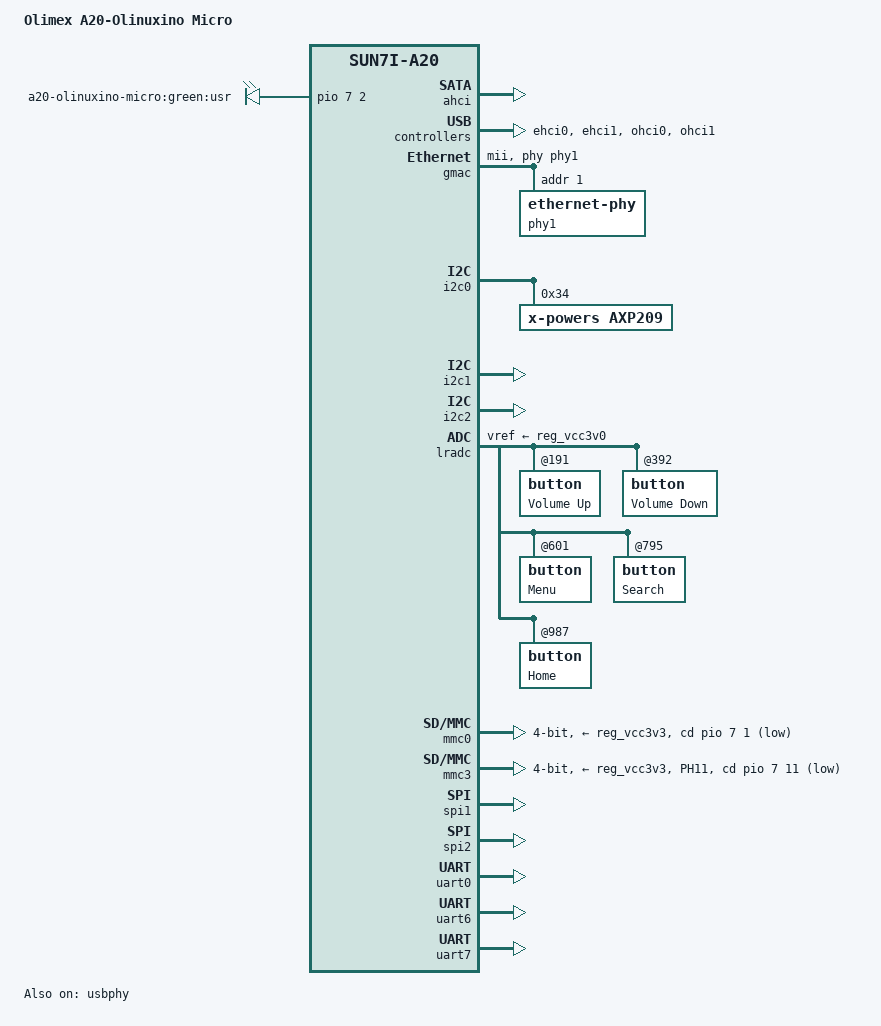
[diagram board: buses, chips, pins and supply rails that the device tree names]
/*
 * Copyright 2013 Maxime Ripard
 *
 * Maxime Ripard <maxime.ripard@free-electrons.com>
 *
 * This file is dual-licensed: you can use it either under the terms
 * of the GPL or the X11 license, at your option. Note that this dual
 * licensing only applies to this file, and not this project as a
 * whole.
 *
 *  a) This file is free software; you can redistribute it and/or
 *     modify it under the terms of the GNU General Public License as
 *     published by the Free Software Foundation; either version 2 of the
 *     License, or (at your option) any later version.
 *
 *     This file is distributed in the hope that it will be useful,
 *     but WITHOUT ANY WARRANTY; without even the implied warranty of
 *     MERCHANTABILITY or FITNESS FOR A PARTICULAR PURPOSE.  See the
 *     GNU General Public License for more details.
 *
 *     You should have received a copy of the GNU General Public
 *     License along with this file; if not, write to the Free
 *     Software Foundation, Inc., 51 Franklin St, Fifth Floor, Boston,
 *     MA 02110-1301 USA
 *
 * Or, alternatively,
 *
 *  b) Permission is hereby granted, free of charge, to any person
 *     obtaining a copy of this software and associated documentation
 *     files (the "Software"), to deal in the Software without
 *     restriction, including without limitation the rights to use,
 *     copy, modify, merge, publish, distribute, sublicense, and/or
 *     sell copies of the Software, and to permit persons to whom the
 *     Software is furnished to do so, subject to the following
 *     conditions:
 *
 *     The above copyright notice and this permission notice shall be
 *     included in all copies or substantial portions of the Software.
 *
 *     THE SOFTWARE IS PROVIDED "AS IS", WITHOUT WARRANTY OF ANY KIND,
 *     EXPRESS OR IMPLIED, INCLUDING BUT NOT LIMITED TO THE WARRANTIES
 *     OF MERCHANTABILITY, FITNESS FOR A PARTICULAR PURPOSE AND
 *     NONINFRINGEMENT. IN NO EVENT SHALL THE AUTHORS OR COPYRIGHT
 *     HOLDERS BE LIABLE FOR ANY CLAIM, DAMAGES OR OTHER LIABILITY,
 *     WHETHER IN AN ACTION OF CONTRACT, TORT OR OTHERWISE, ARISING
 *     FROM, OUT OF OR IN CONNECTION WITH THE SOFTWARE OR THE USE OR
 *     OTHER DEALINGS IN THE SOFTWARE.
 */

/dts-v1/;
#include "sun7i-a20.dtsi"
#include "sunxi-common-regulators.dtsi"

#include <dt-bindings/gpio/gpio.h>
#include <dt-bindings/input/input.h>
#include <dt-bindings/interrupt-controller/irq.h>
#include <dt-bindings/pinctrl/sun4i-a10.h>

/ {
	model = "Olimex A20-Olinuxino Micro";
	compatible = "olimex,a20-olinuxino-micro", "allwinner,sun7i-a20";

	aliases {
		serial0 = &uart0;
		serial1 = &uart6;
		serial2 = &uart7;
		spi0 = &spi1;
		spi1 = &spi2;
	};

	chosen {
		stdout-path = "serial0:115200n8";
	};

	leds {
		compatible = "gpio-leds";
		pinctrl-names = "default";
		pinctrl-0 = <&led_pins_olinuxino>;

		green {
			label = "a20-olinuxino-micro:green:usr";
			gpios = <&pio 7 2 GPIO_ACTIVE_HIGH>;
			default-state = "on";
		};
	};
};

&ahci {
	target-supply = <&reg_ahci_5v>;
	status = "okay";
};

&ehci0 {
	status = "okay";
};

&ehci1 {
	status = "okay";
};

&gmac {
	pinctrl-names = "default";
	pinctrl-0 = <&gmac_pins_mii_a>;
	phy = <&phy1>;
	phy-mode = "mii";
	status = "okay";

	phy1: ethernet-phy@1 {
		reg = <1>;
	};
};

&i2c0 {
	pinctrl-names = "default";
	pinctrl-0 = <&i2c0_pins_a>;
	status = "okay";

	axp209: pmic@34 {
		compatible = "x-powers,axp209";
		reg = <0x34>;
		interrupt-parent = <&nmi_intc>;
		interrupts = <0 IRQ_TYPE_LEVEL_LOW>;

		interrupt-controller;
		#interrupt-cells = <1>;
	};
};

&i2c1 {
	pinctrl-names = "default";
	pinctrl-0 = <&i2c1_pins_a>;
	status = "okay";
};

&i2c2 {
	pinctrl-names = "default";
	pinctrl-0 = <&i2c2_pins_a>;
	status = "okay";
};

&lradc {
	vref-supply = <&reg_vcc3v0>;
	status = "okay";

	button@191 {
		label = "Volume Up";
		linux,code = <KEY_VOLUMEUP>;
		channel = <0>;
		voltage = <191274>;
	};

	button@392 {
		label = "Volume Down";
		linux,code = <KEY_VOLUMEDOWN>;
		channel = <0>;
		voltage = <392644>;
	};

	button@601 {
		label = "Menu";
		linux,code = <KEY_MENU>;
		channel = <0>;
		voltage = <601151>;
	};

	button@795 {
		label = "Search";
		linux,code = <KEY_SEARCH>;
		channel = <0>;
		voltage = <795090>;
	};

	button@987 {
		label = "Home";
		linux,code = <KEY_HOMEPAGE>;
		channel = <0>;
		voltage = <987387>;
	};

	button@1184 {
		label = "Esc";
		linux,code = <KEY_ESC>;
		channel = <0>;
		voltage = <1184678>;
	};

	button@1398 {
		label = "Enter";
		linux,code = <KEY_ENTER>;
		channel = <0>;
		voltage = <1398804>;
	};
};

&mmc0 {
	pinctrl-names = "default";
	pinctrl-0 = <&mmc0_pins_a>, <&mmc0_cd_pin_reference_design>;
	vmmc-supply = <&reg_vcc3v3>;
	bus-width = <4>;
	cd-gpios = <&pio 7 1 GPIO_ACTIVE_HIGH>; /* PH1 */
	cd-inverted;
	status = "okay";
};

&mmc3 {
	pinctrl-names = "default";
	pinctrl-0 = <&mmc3_pins_a>, <&mmc3_cd_pin_olinuxinom>;
	vmmc-supply = <&reg_vcc3v3>;
	bus-width = <4>;
	cd-gpios = <&pio 7 11 GPIO_ACTIVE_HIGH>; /* PH11 */
	cd-inverted;
	status = "okay";
};

&ohci0 {
	status = "okay";
};

&ohci1 {
	status = "okay";
};

&pio {
	mmc3_cd_pin_olinuxinom: mmc3_cd_pin@0 {
		allwinner,pins = "PH11";
		allwinner,function = "gpio_in";
		allwinner,drive = <SUN4I_PINCTRL_10_MA>;
		allwinner,pull = <SUN4I_PINCTRL_PULL_UP>;
	};

	led_pins_olinuxino: led_pins@0 {
		allwinner,pins = "PH2";
		allwinner,function = "gpio_out";
		allwinner,drive = <SUN4I_PINCTRL_20_MA>;
		allwinner,pull = <SUN4I_PINCTRL_NO_PULL>;
	};
};

&reg_ahci_5v {
	status = "okay";
};

&reg_usb1_vbus {
	status = "okay";
};

&reg_usb2_vbus {
	status = "okay";
};

&spi1 {
	pinctrl-names = "default";
	pinctrl-0 = <&spi1_pins_a>;
	status = "okay";
};

&spi2 {
	pinctrl-names = "default";
	pinctrl-0 = <&spi2_pins_a>;
	status = "okay";
};

&uart0 {
	pinctrl-names = "default";
	pinctrl-0 = <&uart0_pins_a>;
	status = "okay";
};

&uart6 {
	pinctrl-names = "default";
	pinctrl-0 = <&uart6_pins_a>;
	status = "okay";
};

&uart7 {
	pinctrl-names = "default";
	pinctrl-0 = <&uart7_pins_a>;
	status = "okay";
};

&usbphy {
	usb1_vbus-supply = <&reg_usb1_vbus>;
	usb2_vbus-supply = <&reg_usb2_vbus>;
	status = "okay";
};
